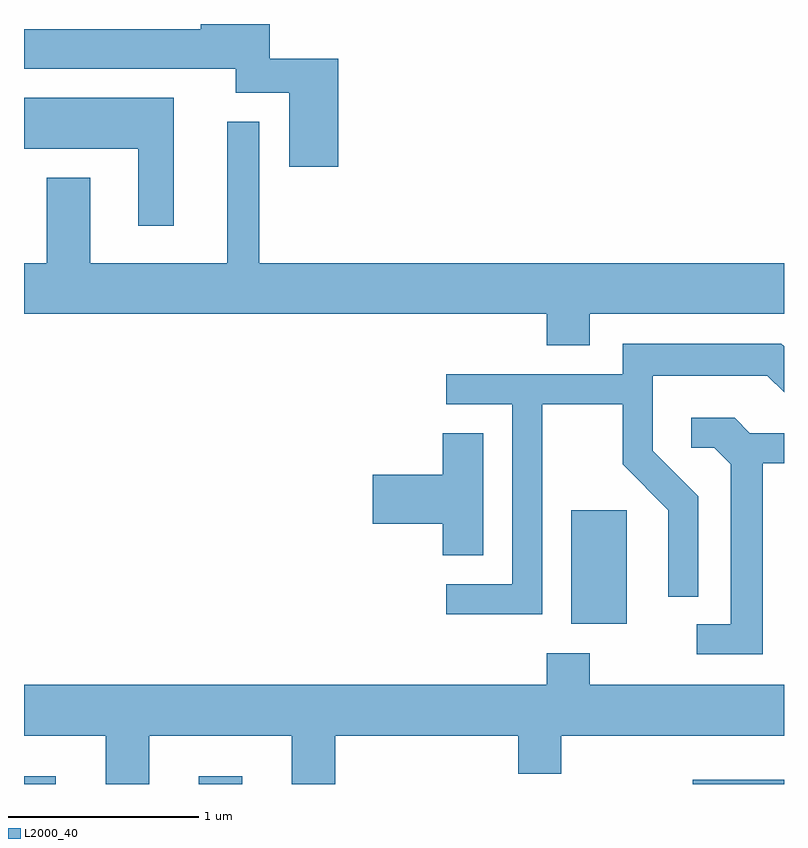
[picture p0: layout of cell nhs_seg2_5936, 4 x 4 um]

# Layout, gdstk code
import gdstk
lib = gdstk.Library(unit=1e-6, precision=1e-09)
def R(c, l, rs):  # rectangles x0, y0, x1, y1
    for r in rs: c.add(gdstk.rectangle(r[:2], r[2:], *l))
def P(c, l, *ps):  # polygons
    for p in ps: c.add(gdstk.Polygon(p, *l))
L2000_40 = (2000, 40)

nhs_seg2_5936 = lib.new_cell('nhs_seg2_5936')
R(nhs_seg2_5936, L2000_40, [(359.611,1085.802,359.779,1085.844), (360.531,1085.802,360.759,1085.844), (363.131,1085.802,363.611,1085.824), (362.491,1086.646,362.784,1087.244)])
P(nhs_seg2_5936, L2000_40, [(361.264,1089.619),(360.904,1089.619),(360.904,1089.802),(360.541,1089.802),(360.541,1089.774),(359.611,1089.774),(359.611,1089.566),(360.726,1089.566),(360.726,1089.441),(361.006,1089.441),(361.006,1089.051),(361.264,1089.051)],
  [(360.399,1089.414),(359.611,1089.414),(359.611,1089.146),(360.211,1089.146),(360.211,1088.741),(360.399,1088.741)],
  [(362.589,1088.276),(363.611,1088.276),(363.611,1088.544),(360.849,1088.544),(360.849,1089.288),(360.681,1089.288),(360.681,1088.544),(359.959,1088.544),(359.959,1088.994),(359.731,1088.994),(359.731,1088.544),(359.611,1088.544),(359.611,1088.276),(362.361,1088.276),(362.361,1088.111),(362.589,1088.111)],
  [(362.339,1087.801),(362.761,1087.801),(362.761,1087.484),(363.001,1087.244),(363.001,1086.788),(363.159,1086.788),(363.159,1087.317),(362.919,1087.557),(362.919,1087.951),(363.524,1087.951),(363.611,1087.864),(363.611,1088.105),(363.597,1088.119),(362.761,1088.119),(362.761,1087.959),(361.833,1087.959),(361.833,1087.801),(362.181,1087.801),(362.181,1086.854),(361.833,1086.854),(361.833,1086.696),(362.339,1086.696)],
  [(363.499,1087.491),(363.611,1087.491),(363.611,1087.649),(363.432,1087.649),(363.352,1087.729),(363.123,1087.729),(363.123,1087.571),(363.244,1087.571),(363.331,1087.484),(363.331,1086.644),(363.153,1086.644),(363.153,1086.486),(363.499,1086.486)],
  [(362.029,1087.649),(361.816,1087.649),(361.816,1087.429),(361.446,1087.429),(361.446,1087.171),(361.816,1087.171),(361.816,1087.006),(362.029,1087.006)],
  [(360.269,1086.056),(361.021,1086.056),(361.021,1085.802),(361.249,1085.802),(361.249,1086.056),(362.211,1086.056),(362.211,1085.856),(362.439,1085.856),(362.439,1086.056),(363.611,1086.056),(363.611,1086.324),(362.589,1086.324),(362.589,1086.489),(362.361,1086.489),(362.361,1086.324),(359.611,1086.324),(359.611,1086.056),(360.041,1086.056),(360.041,1085.802),(360.269,1085.802)])

lib.write_gds('nhs_seg2_5936.gds')
